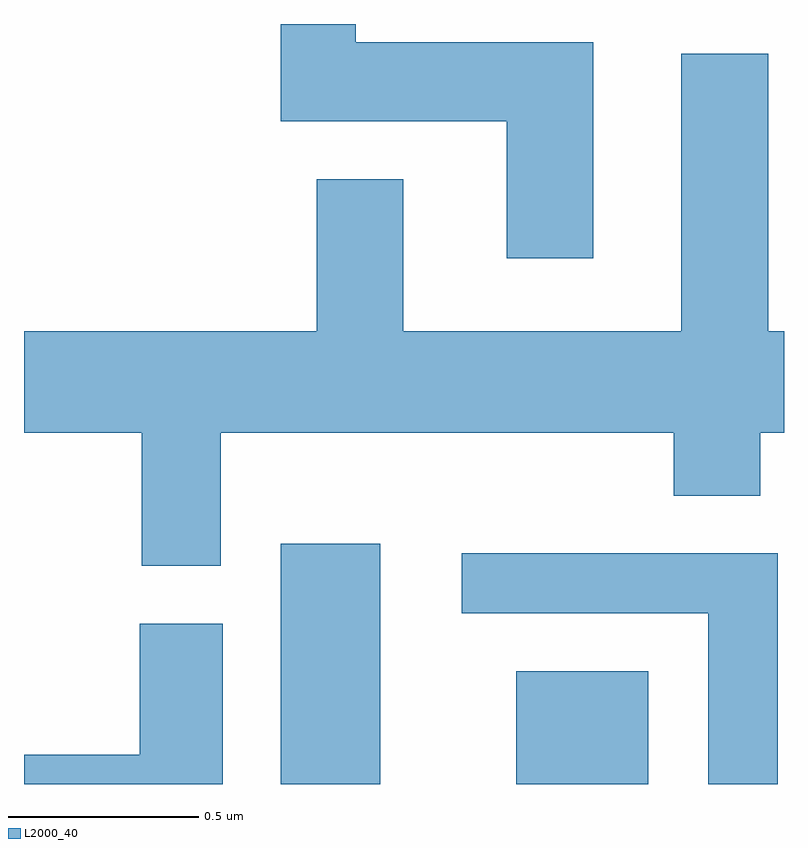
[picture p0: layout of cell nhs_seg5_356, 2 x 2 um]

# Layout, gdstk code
import gdstk
lib = gdstk.Library(unit=1e-6, precision=1e-09)
def R(c, l, rs):  # rectangles x0, y0, x1, y1
    for r in rs: c.add(gdstk.rectangle(r[:2], r[2:], *l))
def P(c, l, *ps):  # polygons
    for p in ps: c.add(gdstk.Polygon(p, *l))
L2000_40 = (2000, 40)

nhs_seg5_356 = lib.new_cell('nhs_seg5_356')
R(nhs_seg5_356, L2000_40, [(188.286,1478.072,188.549,1478.704), (188.906,1478.072,189.254,1478.369)])
P(nhs_seg5_356, L2000_40, [(189.109,1480.024),(188.484,1480.024),(188.484,1480.072),(187.611,1480.072),(187.611,1480.071),(188.286,1480.071),(188.286,1479.816),(188.881,1479.816),(188.881,1479.456),(189.109,1479.456)],
  [(188.129,1478.996),(189.321,1478.996),(189.321,1478.831),(189.549,1478.831),(189.549,1478.996),(189.611,1478.996),(189.611,1479.264),(189.569,1479.264),(189.569,1479.994),(189.341,1479.994),(189.341,1479.264),(188.609,1479.264),(188.609,1479.664),(188.381,1479.664),(188.381,1479.264),(187.611,1479.264),(187.611,1478.996),(187.921,1478.996),(187.921,1478.646),(188.129,1478.646)],
  [(189.594,1478.679),(188.763,1478.679),(188.763,1478.521),(189.411,1478.521),(189.411,1478.072),(189.594,1478.072)],
  [(188.134,1478.494),(187.916,1478.494),(187.916,1478.149),(187.611,1478.149),(187.611,1478.072),(188.134,1478.072)])

lib.write_gds('nhs_seg5_356.gds')
